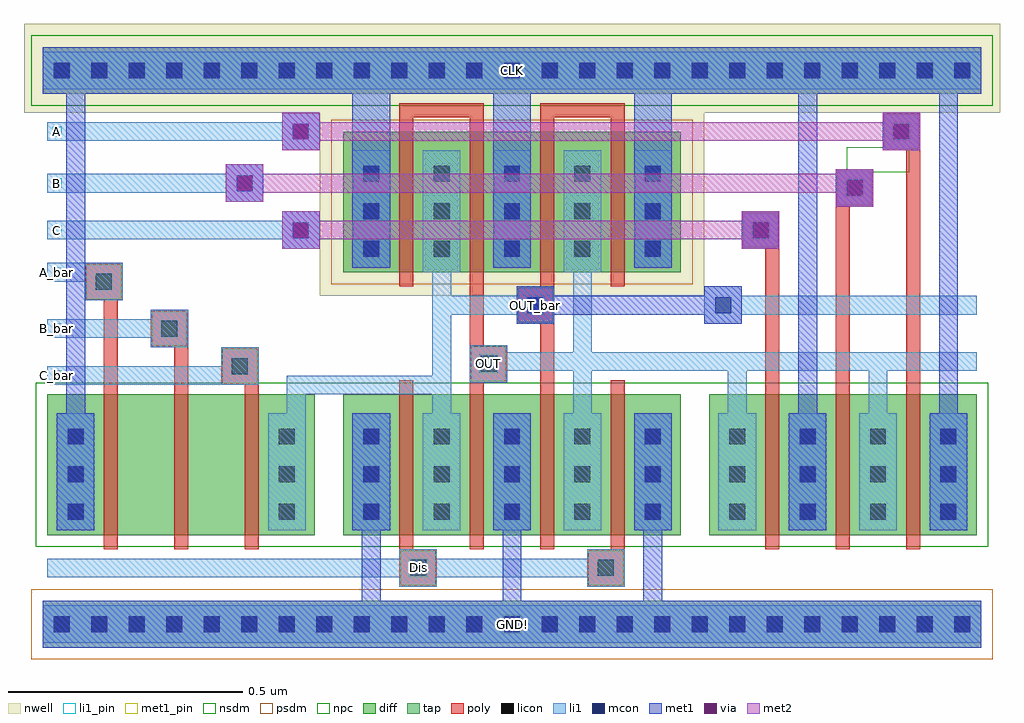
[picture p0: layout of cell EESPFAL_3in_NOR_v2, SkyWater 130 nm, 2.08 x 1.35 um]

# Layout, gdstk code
import gdstk
lib = gdstk.Library(unit=1e-6, precision=2e-10)
def R(c, l, rs):  # rectangles x0, y0, x1, y1
    for r in rs: c.add(gdstk.rectangle(r[:2], r[2:], *l))
def A(c, l, x, y, w, h, nx, ny, dx, dy):  # array of equal rectangles
    R(c, l, [(x+i*dx, y+j*dy, x+i*dx+w, y+j*dy+h) for i in range(nx) for j in range(ny)])
nwell = (64, 20)
diff = (65, 20)
tap = (65, 44)
poly = (66, 20)
licon = (66, 44)
li1_pin = (67, 16)
li1 = (67, 20)
mcon = (67, 44)
met1_pin = (68, 16)
met1 = (68, 20)
via = (68, 44)
met2 = (69, 20)
nsdm = (93, 44)
psdm = (94, 20)
npc = (95, 20)

eespfal_3in_nor_v2 = lib.new_cell('EESPFAL_3in_NOR_v2')
R(eespfal_3in_nor_v2, nwell, [(-1.71,1.08,-0.89,1.47), (-2.34,1.47,-0.26,1.66)])
R(eespfal_3in_nor_v2, diff, [(-2.29,0.57,-1.72,0.87), (-1.66,0.57,-0.94,0.87), (-0.88,0.57,-0.31,0.87), (-1.66,1.13,-0.94,1.43)])
R(eespfal_3in_nor_v2, tap, [(-2.3,0.33,-0.3,0.43), (-2.3,1.51,-0.3,1.61)])
R(eespfal_3in_nor_v2, poly, [(-1.54,0.46,-1.46,0.54), (-1.14,0.46,-1.06,0.54), (-2.17,0.54,-2.14,1.07), (-2.02,0.54,-1.99,0.97), (-1.87,0.54,-1.84,0.89), (-1.54,0.54,-1.51,0.9), (-1.39,0.54,-1.36,0.9), (-1.24,0.54,-1.21,1.02), (-1.09,0.54,-1.06,0.9), (-0.76,0.54,-0.73,1.18), (-0.61,0.54,-0.58,1.27), (-0.46,0.54,-0.43,1.39), (-1.92,0.89,-1.84,0.97), (-1.39,0.895,-1.31,0.975), (-2.07,0.97,-1.99,1.05), (-1.39,0.975,-1.36,1.46), (-1.29,1.02,-1.21,1.1), (-2.21,1.07,-2.13,1.15), (-1.54,1.1,-1.51,1.46), (-1.24,1.1,-1.21,1.46), (-1.09,1.1,-1.06,1.46), (-0.81,1.18,-0.73,1.26), (-0.61,1.27,-0.53,1.35), (-0.51,1.39,-0.43,1.47), (-1.54,1.46,-1.36,1.49), (-1.24,1.46,-1.06,1.49)])
A(eespfal_3in_nor_v2, licon, -2.277, 0.363, 0.034, 0.034, 25, 2, 0.08, 1.18)
A(eespfal_3in_nor_v2, licon, -2.247, 0.603, 0.034, 0.034, 1, 3, 0, 0.08)
A(eespfal_3in_nor_v2, licon, -1.797, 0.603, 0.034, 0.034, 1, 3, 0, 0.08)
A(eespfal_3in_nor_v2, licon, -1.617, 0.603, 0.034, 0.034, 5, 3, 0.15, 0.08)
A(eespfal_3in_nor_v2, licon, -0.837, 0.603, 0.034, 0.034, 4, 3, 0.15, 0.08)
A(eespfal_3in_nor_v2, licon, -1.617, 1.163, 0.034, 0.034, 5, 3, 0.15, 0.08)
R(eespfal_3in_nor_v2, licon, [(-1.517,0.483,-1.483,0.517), (-1.117,0.483,-1.083,0.517), (-1.897,0.913,-1.863,0.947), (-1.367,0.918,-1.333,0.952), (-2.047,0.993,-2.013,1.027), (-1.267,1.043,-1.233,1.077), (-2.187,1.093,-2.153,1.127), (-0.787,1.203,-0.753,1.237), (-0.587,1.293,-0.553,1.327), (-0.487,1.413,-0.453,1.447)])
R(eespfal_3in_nor_v2, li1_pin, [(-1.52,0.48,-1.48,0.52), (-2.28,0.9,-2.26,0.92), (-1.37,0.915,-1.33,0.955), (-2.28,1,-2.26,1.02), (-2.28,1.12,-2.26,1.14), (-2.28,1.21,-2.26,1.23), (-2.28,1.31,-2.26,1.33), (-2.28,1.42,-2.26,1.44)])
A(eespfal_3in_nor_v2, li1, -1.64, 0.58, 0.08, 0.25, 5, 1, 0.15, 0)
A(eespfal_3in_nor_v2, li1, -0.86, 0.58, 0.08, 0.25, 4, 1, 0.15, 0)
A(eespfal_3in_nor_v2, li1, -1.64, 1.14, 0.08, 0.25, 3, 1, 0.3, 0)
R(eespfal_3in_nor_v2, li1, [(-2.3,0.34,-0.3,0.42), (-1.54,0.46,-1.46,0.48), (-1.14,0.46,-1.06,0.48), (-2.29,0.48,-1.06,0.52), (-1.54,0.52,-1.46,0.54), (-1.14,0.52,-1.06,0.54), (-2.27,0.58,-2.19,0.83), (-1.82,0.58,-1.74,0.83), (-1.78,0.83,-1.74,0.87), (-0.84,0.83,-0.8,0.92), (-0.54,0.83,-0.5,0.92), (-1.78,0.87,-1.43,0.91), (-1.17,0.87,-1.13,0.92), (-2.29,0.89,-1.84,0.93), (-1.39,0.895,-1.31,0.975), (-1.47,0.91,-1.43,1.04), (-1.31,0.92,-0.31,0.96), (-1.92,0.93,-1.84,0.97), (-1.17,0.96,-1.13,1.13), (-2.07,0.97,-1.99,0.99), (-2.29,0.99,-1.99,1.03), (-1.29,1.02,-1.21,1.04), (-0.89,1.02,-0.81,1.04), (-2.07,1.03,-1.99,1.05), (-1.47,1.04,-1.21,1.08), (-0.89,1.04,-0.31,1.08), (-2.21,1.07,-2.13,1.11), (-1.47,1.08,-1.43,1.13), (-1.29,1.08,-1.21,1.1), (-0.89,1.08,-0.81,1.1), (-2.29,1.11,-2.13,1.15), (-1.49,1.13,-1.41,1.39), (-1.19,1.13,-1.11,1.39), (-1.79,1.18,-1.71,1.2), (-0.81,1.18,-0.73,1.26), (-2.29,1.2,-1.71,1.24), (-1.79,1.24,-1.71,1.26), (-0.61,1.27,-0.53,1.35), (-1.91,1.28,-1.83,1.3), (-2.29,1.3,-1.83,1.34), (-1.91,1.34,-1.83,1.36), (-1.79,1.39,-1.71,1.41), (-0.51,1.39,-0.43,1.47), (-2.29,1.41,-1.71,1.45), (-1.79,1.45,-1.71,1.47), (-2.3,1.52,-0.3,1.6)])
A(eespfal_3in_nor_v2, mcon, -2.277, 0.363, 0.034, 0.034, 25, 2, 0.08, 1.18)
A(eespfal_3in_nor_v2, mcon, -2.247, 0.603, 0.034, 0.034, 1, 3, 0, 0.08)
A(eespfal_3in_nor_v2, mcon, -1.617, 0.603, 0.034, 0.034, 3, 3, 0.3, 0.08)
A(eespfal_3in_nor_v2, mcon, -0.687, 0.603, 0.034, 0.034, 1, 3, 0, 0.08)
A(eespfal_3in_nor_v2, mcon, -0.387, 0.603, 0.034, 0.034, 1, 3, 0, 0.08)
A(eespfal_3in_nor_v2, mcon, -1.617, 1.163, 0.034, 0.034, 3, 3, 0.3, 0.08)
R(eespfal_3in_nor_v2, mcon, [(-1.267,1.043,-1.233,1.077), (-0.867,1.043,-0.833,1.077), (-1.767,1.203,-1.733,1.237), (-0.787,1.203,-0.753,1.237), (-0.587,1.293,-0.553,1.327), (-1.887,1.303,-1.853,1.337), (-1.767,1.413,-1.733,1.447), (-0.487,1.413,-0.453,1.447)])
R(eespfal_3in_nor_v2, met1_pin, [(-1.32,0.36,-1.28,0.4), (-1.27,1.04,-1.23,1.08), (-1.32,1.54,-1.28,1.58)])
A(eespfal_3in_nor_v2, met1, -1.62, 0.43, 0.04, 0.15, 3, 1, 0.3, 0)
A(eespfal_3in_nor_v2, met1, -1.64, 0.58, 0.08, 0.25, 3, 1, 0.3, 0)
A(eespfal_3in_nor_v2, met1, -1.64, 1.14, 0.08, 0.37, 3, 1, 0.3, 0)
R(eespfal_3in_nor_v2, met1, [(-2.3,0.33,-0.3,0.43), (-2.27,0.58,-2.19,0.83), (-0.71,0.58,-0.63,0.83), (-0.41,0.58,-0.33,0.83), (-2.25,0.83,-2.21,1.51), (-0.69,0.83,-0.65,1.51), (-0.39,0.83,-0.35,1.51), (-1.29,1.02,-1.21,1.04), (-0.89,1.02,-0.81,1.04), (-1.29,1.04,-0.81,1.08), (-1.29,1.08,-1.21,1.1), (-0.89,1.08,-0.81,1.1), (-1.79,1.18,-1.71,1.26), (-0.81,1.18,-0.73,1.26), (-0.61,1.27,-0.53,1.35), (-1.91,1.28,-1.83,1.36), (-1.79,1.39,-1.71,1.47), (-0.51,1.39,-0.43,1.47), (-2.3,1.51,-0.3,1.61)])
R(eespfal_3in_nor_v2, via, [(-1.765,1.205,-1.735,1.235), (-0.785,1.205,-0.755,1.235), (-0.585,1.295,-0.555,1.325), (-1.885,1.305,-1.855,1.335), (-1.765,1.415,-1.735,1.445), (-0.485,1.415,-0.455,1.445)])
R(eespfal_3in_nor_v2, met2, [(-1.79,1.18,-1.71,1.2), (-0.81,1.18,-0.73,1.2), (-1.79,1.2,-0.73,1.24), (-1.79,1.24,-1.71,1.26), (-0.81,1.24,-0.73,1.26), (-0.61,1.27,-0.53,1.3), (-1.91,1.28,-1.83,1.3), (-1.91,1.3,-0.53,1.34), (-1.91,1.34,-1.83,1.36), (-0.61,1.34,-0.53,1.35), (-1.79,1.39,-1.71,1.41), (-0.51,1.39,-0.43,1.41), (-1.79,1.41,-0.43,1.45), (-1.79,1.45,-1.71,1.47), (-0.51,1.45,-0.43,1.47)])
R(eespfal_3in_nor_v2, nsdm, [(-2.315,0.545,-0.285,0.895), (-2.325,1.485,-0.275,1.635)])
R(eespfal_3in_nor_v2, psdm, [(-2.325,0.305,-0.275,0.455), (-1.685,1.105,-0.915,1.455)])
R(eespfal_3in_nor_v2, npc, [(-1.537,0.463,-1.463,0.537), (-1.137,0.463,-1.063,0.537), (-1.917,0.893,-1.843,0.967), (-1.387,0.898,-1.313,0.972), (-2.067,0.973,-1.993,1.047), (-1.287,1.023,-1.213,1.097), (-2.207,1.073,-2.133,1.147), (-0.807,1.183,-0.733,1.257), (-0.607,1.273,-0.533,1.343), (-0.607,1.343,-0.453,1.347), (-0.587,1.347,-0.453,1.393), (-0.587,1.393,-0.433,1.397), (-0.507,1.397,-0.433,1.467)])
eespfal_3in_nor_v2.add(gdstk.FlexPath([(-1.45,0.83),(-1.45,0.869),(-1.45,0.87)], 0.04, ends="flush", simple_path=True, layer=67, datatype=20))  # li1
eespfal_3in_nor_v2.add(gdstk.FlexPath([(-1.15,0.83),(-1.15,0.87)], 0.04, ends="flush", simple_path=True, layer=67, datatype=20))  # li1
eespfal_3in_nor_v2.add(gdstk.Label('OUT', (-1.35,0.935), layer=67, texttype=16))
eespfal_3in_nor_v2.add(gdstk.Label('A', (-2.27,1.43), layer=67, texttype=16))
eespfal_3in_nor_v2.add(gdstk.Label('A_bar', (-2.27,1.13), layer=67, texttype=16))
eespfal_3in_nor_v2.add(gdstk.Label('B', (-2.27,1.32), layer=67, texttype=16))
eespfal_3in_nor_v2.add(gdstk.Label('B_bar', (-2.27,1.01), layer=67, texttype=16))
eespfal_3in_nor_v2.add(gdstk.Label('C', (-2.27,1.22), layer=67, texttype=16))
eespfal_3in_nor_v2.add(gdstk.Label('C_bar', (-2.27,0.91), layer=67, texttype=16))
eespfal_3in_nor_v2.add(gdstk.Label('Dis', (-1.5,0.5), layer=67, texttype=16))
eespfal_3in_nor_v2.add(gdstk.Label('OUT_bar', (-1.25,1.06), layer=68, texttype=16))
eespfal_3in_nor_v2.add(gdstk.Label('GND!', (-1.3,0.38), layer=68, texttype=16))
eespfal_3in_nor_v2.add(gdstk.Label('CLK', (-1.3,1.56), layer=68, texttype=16))

lib.write_gds('EESPFAL_3in_NOR_v2.gds')
